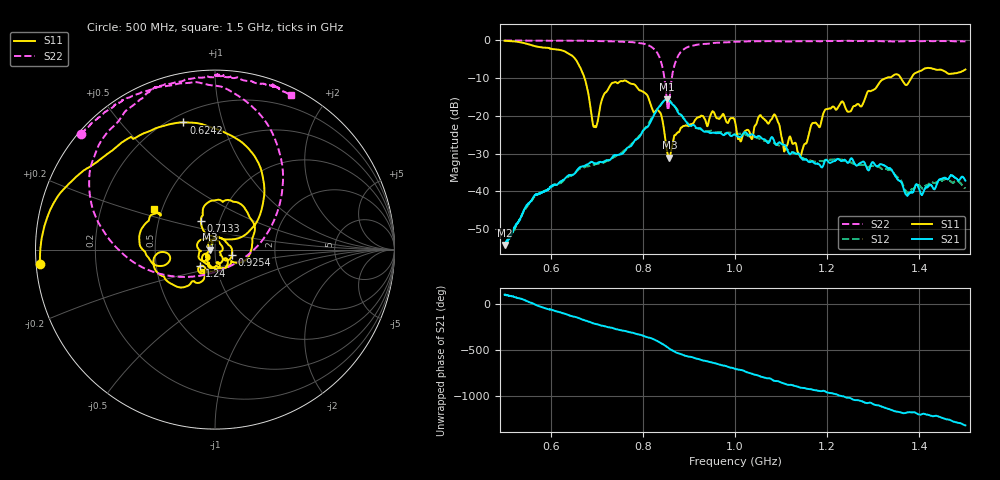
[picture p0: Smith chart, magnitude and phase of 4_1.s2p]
!Agilent Technologies,E8364B,US42250235,A.06.04.32
!Agilent E8364B: A.06.04.32
!Date: Thursday, October 01, 2020 14:23:26
!Correction: S11(Full 2 Port(1,2)) S21(Full 2 Port(1,2)) S12(Full 2 Port(1,2)) S22(Full 2 Port(1,2))
!S2P File: Measurements: S11, S21, S12, S22:
# Hz S  dB  R 50
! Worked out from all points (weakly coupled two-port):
!   2650 points, 500 MHz to 1.5 GHz, reference 50 ohm
!   highest |S21| = -15.66 dB at 851.5 MHz (marker M1); lowest = -54.1 dB at 500.8 MHz (marker M2)
!   lowest |S11| = -31.1 dB at 857.5 MHz (marker M3), VSWR 1.06, Z = 47.3 + j0.0527 ohm
!   |S11| at or under -10 dB: 673.4 MHz to 1.329 GHz (655.3 MHz wide, 65.5 % of centre); 1.36 GHz to 1.383 GHz (23.02 MHz wide, 1.68 % of centre)
!   |S22| runs from -18.5 to -0.1 dB; largest |S21 - S12| = 0.014
!   S11 on the Smith chart (normalised r, x): 500 MHz: 0.01, -0.04; 624.2 MHz: 0.25, +0.75; 713.3 MHz: 0.81, +0.27; 925.4 MHz: 1.21, -0.07; 1.24 GHz: 0.83, -0.16; 1.5 GHz: 0.45, +0.24
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5e8  -0.19 -175.4  -54.06 102.5  -54.38 102.4  -0.13 139.4
5.00755e8  -0.19 -175.7  -54.14 99.8  -54.10 104.1  -0.13 139.3
6.241978e8  -2.73 103.9  -37.18 -96.5  -37.53 -102.4  -0.17 124.0
6.668554e8  -7.98 46.9  -33.43 -165.5  -33.86 -170.8  -0.19 121.6
6.947905e8  -22.88 70.9  -32.59 145.6  -32.96 145.3  -0.25 118.0
7.13288e8  -15.05 116.5  -32.26 122.6  -32.49 121.5  -0.30 114.5
7.631182e8  -10.75 58.4  -28.96 65.1  -28.89 62.1  -0.49 101.2
8.337108e8  -18.65 -60.8  -17.86 -49.2  -17.89 -52.7  -3.92 55.1
8.514534e8  -28.50 -165.5  -15.66 -105.1  -15.62 -106.9  -15.21 -13.9
8.574934e8  -31.08 178.9  -16.04 -126.9  -15.89 -128.8  -16.12 -114.6
8.81276e8  -23.50 81.0  -19.68 176.8  -19.55 171.6  -3.31 165.3
9.254436e8  -20.07 -16.4  -23.37 112.5  -23.58 111.2  -1.11 135.4
1.000189e9  -21.63 -150.0  -25.04 14.3  -24.87 8.6  -0.46 113.8
1.010759e9  -26.39 -143.3  -25.65 2.7  -24.77 -6.2  -0.41 112.4
1.086636e9  -19.76 156.4  -27.19 -118.5  -27.34 -118.9  -0.35 107.4
1.107022e9  -29.48 117.7  -27.69 -146.3  -28.31 -147.1  -0.39 104.3
1.140242e9  -30.57 -27.8  -30.41 171.4  -30.77 170.9  -0.34 98.2
1.166667e9  -22.19 -59.8  -32.06 149.2  -31.92 146.2  -0.32 93.0
1.239902e9  -17.99 -132.2  -31.81 64.1  -32.00 56.0  -0.23 89.3
1.333522e9  -9.83 -149.8  -33.91 -63.2  -34.39 -66.9  -0.37 78.3
1.373537e9  -11.79 -167.3  -41.07 -101.7  -40.24 -110.7  -0.30 71.5
1.5e9  -7.80 146.3  -37.16 117.3  -39.20 113.4  -0.37 63.8
